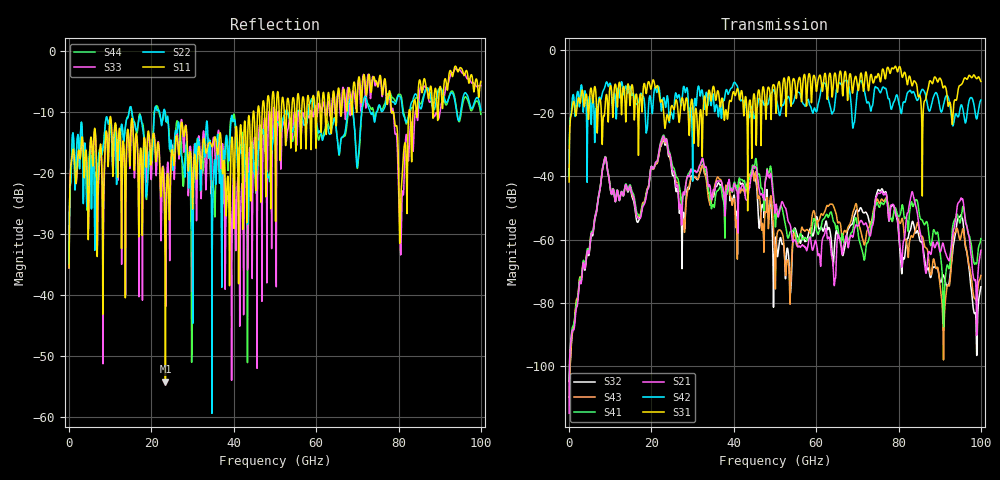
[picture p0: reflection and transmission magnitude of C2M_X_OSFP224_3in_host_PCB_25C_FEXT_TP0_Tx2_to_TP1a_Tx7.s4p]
# GHz S RI R 45
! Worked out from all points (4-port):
!   4000 points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, 25 MHz to 100 GHz, reference 45 ohm
!   strongest paths, dB at 25 MHz, 25.02 GHz, 50.02 GHz, 75.03 GHz, 100 GHz:
!     S31: -41.8, -17.7, -13.0, -7.6, -10.1
!     S42: -40.1, -20.6, -13.9, -12.3, -15.9
!     S21: -114.8, -37.7, -51.7, -45.4, -63.4
!     S41: -103.9, -36.2, -53.9, -49.0, -59.7
!     S43: -109.8, -37.6, -69.9, -47.6, -71.3
!     S32: -104.8, -39.0, -60.6, -44.2, -74.9
!   lowest |S11| = -54.2 dB at 23.4 GHz (marker M1), VSWR 1.00, Z = 45.2 - j0.0482 ohm
!   |S11| at or under -10 dB: start of sweep to 44.73 GHz; 44.86 GHz to 45.8 GHz (939.6 MHz wide, 2.07 % of centre); 78.74 GHz to 82.54 GHz (3.79 GHz wide, 4.7 % of centre) (the widest 3 of 27)
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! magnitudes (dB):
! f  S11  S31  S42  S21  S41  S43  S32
! 25 MHz  -35.5  -41.8  -40.1  -114.8  -103.9  -109.8  -104.8
! 8.6 GHz  -18.6  -20.7  -12.3  -34.8  -34.6  -34.6  -34.8
! 23.4 GHz  -54.2  -24.2  -18.1  -29.0  -28.4  -29.5  -30.0
! 53.5 GHz  -9.4  -9.2  -15.5  -54.8  -58.3  -72.8  -69.6
! 75.65 GHz  -4.3  -10.1  -13.6  -45.3  -48.9  -47.8  -44.6
! 80.53 GHz  -24.9  -6.2  -19.4  -64.2  -51.6  -54.7  -66.3
! 100 GHz  -5.0  -10.1  -15.9  -63.4  -59.7  -71.3  -74.9
